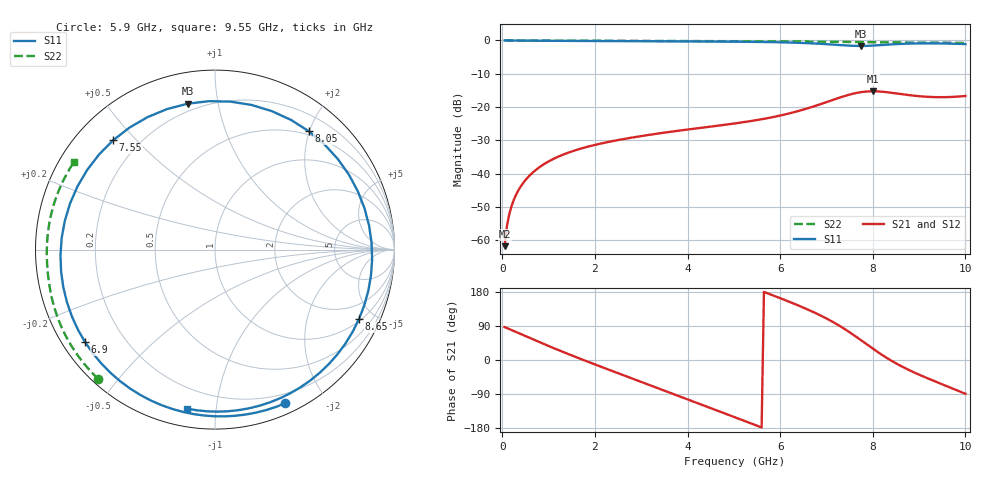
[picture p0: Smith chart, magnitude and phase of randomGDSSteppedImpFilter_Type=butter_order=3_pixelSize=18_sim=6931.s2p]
! freq	dB(S11)	phase(S11)	dB(S12)	phase(S12)
!  dB(S21)	phase(S21)	dB(S22)	phase(S22)
!S-par simulation data
#  GHz  S  DB  R 50
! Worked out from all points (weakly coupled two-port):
!   200 points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, 50 MHz to 10 GHz, reference 50 ohm
!   highest |S21| = -15.25 dB at 8 GHz (marker M1); lowest = -61.7 dB at 50 MHz (marker M2)
!   lowest |S11| = -1.6 dB at 7.75 GHz (marker M3), VSWR 10.56, Z = 7.95 + j40.9 ohm
!   |S11| at or under -10 dB: nowhere
!   |S22| runs from -0.7 to 0.0 dB; largest |S21 - S12| = 0
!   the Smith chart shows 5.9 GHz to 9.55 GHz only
!   S11 on the Smith chart (normalised r, x): 5.9 GHz: 0.10, -1.55; 6.9 GHz: 0.06, -0.32; 7.55 GHz: 0.11, +0.43; 8.05 GHz: 0.44, +1.99; 8.65 GHz: 1.09, -4.09; 9.55 GHz: 0.09, -0.83
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0.05  -0.00 -4.2  -61.73 86.9  -61.73 86.9  -0.00 -1.2
0.2  -0.02 -16.8  -49.70 78.9  -49.70 78.9  -0.01 -4.9
0.5  -0.05 -41.5  -41.90 62.9  -41.90 62.9  -0.02 -12.3
1.1  -0.11 -89.6  -35.57 31.8  -35.57 31.8  -0.04 -26.8
1.75  -0.16 -139.1  -32.24 0.1  -32.24 0.1  -0.06 -42.3
2.5  -0.20 166.4  -29.88 -34.7  -29.88 -34.7  -0.08 -59.7
3.4  -0.25 102.3  -27.85 -75.9  -27.85 -75.9  -0.11 -79.8
4.35  -0.31 36.3  -26.11 -120.0  -26.11 -120.0  -0.15 -100.1
5.05  -0.37 -10.2  -24.84 -152.5  -24.84 -152.5  -0.19 -114.7
5.9  -0.52 -65.6  -22.83 168.0  -22.83 168.0  -0.26 -132.1
6.7  -0.88 -125.8  -19.90 127.5  -19.90 127.5  -0.34 -148.6
6.9  -1.03 -144.5  -18.99 115.8  -18.99 115.8  -0.37 -152.7
7.25  -1.34 175.7  -17.31 92.5  -17.31 92.5  -0.43 -160.0
7.55  -1.59 132.9  -16.06 69.0  -16.06 69.0  -0.49 -166.2
7.75  -1.65 100.6  -15.50 51.8  -15.50 51.8  -0.52 -170.4
8  -1.54 59.6  -15.25 30.0  -15.25 30.0  -0.55 -175.6
8.05  -1.50 51.7  -15.26 25.7  -15.26 25.7  -0.56 -176.6
8.35  -1.22 8.8  -15.60 1.9  -15.60 1.9  -0.57 176.9
8.65  -1.01 -25.8  -16.16 -18.5  -16.16 -18.5  -0.59 170.1
9.1  -0.88 -66.4  -16.84 -44.0  -16.84 -44.0  -0.63 159.5
9.55  -0.92 -100.1  -17.01 -66.5  -17.01 -66.5  -0.68 148.3
10  -1.09 -133.1  -16.67 -89.2  -16.67 -89.2  -0.75 136.5
